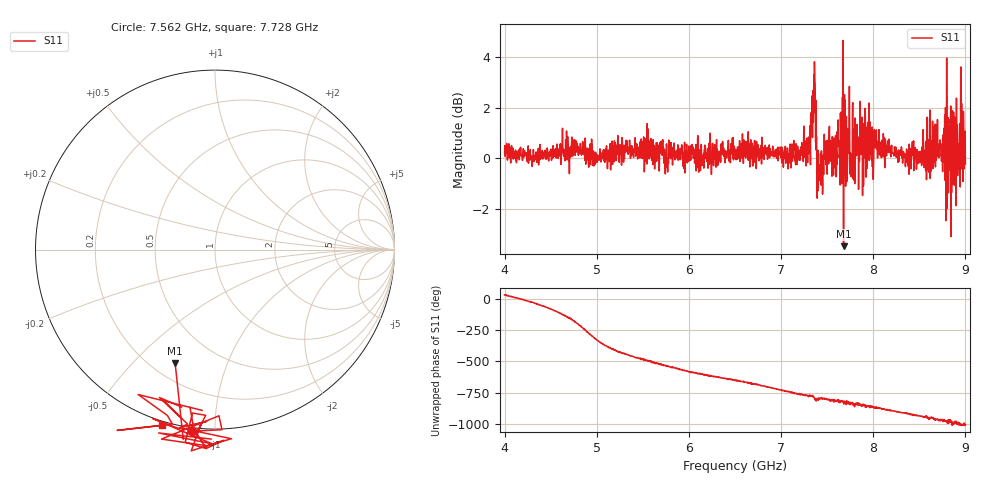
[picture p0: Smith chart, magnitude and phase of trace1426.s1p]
! Created with skrf 1.8.0 (http://scikit-rf.org).
# Hz S RI R 50.0
!freq ReS11 ImS11
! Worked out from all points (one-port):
!   1601 points, 4 GHz to 9 GHz, reference 50 ohm
!   lowest |S11| = -3.5 dB at 7.678 GHz (marker M1), VSWR 5.05, Z = 14.6 - j33.4 ohm
!   |S11| at or under -10 dB: nowhere
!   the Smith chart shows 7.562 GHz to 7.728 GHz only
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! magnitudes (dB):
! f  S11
! 4 GHz  0.2
! 4.625 GHz  0.5
! 5.25 GHz  0.5
! 5.572 GHz  0.0
! 5.753 GHz  0.1
! 5.875 GHz  0.0
! 6.5 GHz  0.2
! 7.125 GHz  0.2
! 7.294 GHz  0.2
! 7.347 GHz  2.7
! 7.369 GHz  2.9
! 7.4 GHz  0.3
! 7.428 GHz  0.2
! 7.5 GHz  -0.6
! 7.575 GHz  0.8
! 7.669 GHz  1.2
! 7.678 GHz  -3.5
! 7.703 GHz  -0.9
! 7.75 GHz  -0.6
! 7.775 GHz  2.1
! 7.8 GHz  -1.0
! 7.909 GHz  0.0
! 7.928 GHz  0.8
! 8.375 GHz  -0.1
! 8.788 GHz  0.8
! 8.869 GHz  -0.5
! 8.956 GHz  0.5
! 9 GHz  -0.2
